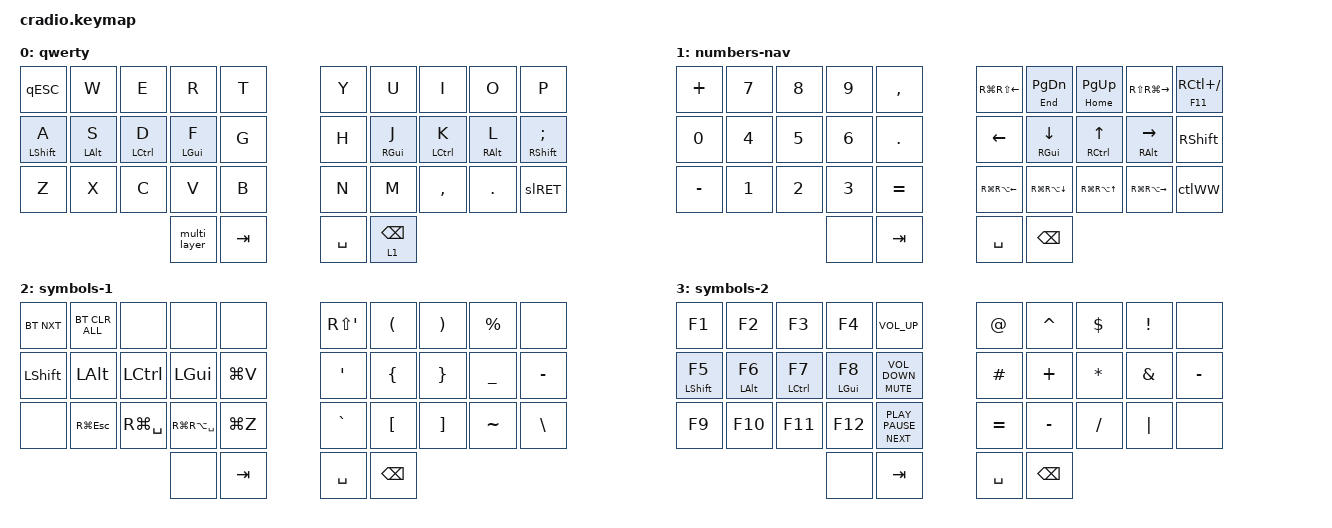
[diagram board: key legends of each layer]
// Copyright (c) 2022 The ZMK Contributors
// SPDX-License-Identifier: MIT

#include <behaviors.dtsi>
#include <dt-bindings/zmk/bt.h>
#include <dt-bindings/zmk/keys.h>

// Home row mods macro
//#define HRML(k1,k2,k3,k4) &ht LSHFT k1  &ht LALT k2  &ht LCTRL k3  &ht LGUI k4
//#define HRMR(k1,k2,k3,k4) &ht RGUI k1  &ht RCTRL k2  &ht RALT k3  &ht RSHFT k4

/ {
    behaviors {
        multi_layer: multi_layer {
            compatible = "zmk,behavior-tap-dance";
            label = "MULTI_LAYER";
            #binding-cells = <0>;
            bindings = <&osl 2 2>, <&osl 3 3>;
        };

        osl: osl {
            compatible = "zmk,behavior-hold-tap";
            label = "OSL";
            bindings = <&mo>, <&sl>;

            #binding-cells = <2>;
            tapping-term-ms = <200>;
            quick-tap-ms = <150>;
            require-prior-idle-ms = <100>;
        };

        qESC: qESC {
            compatible = "zmk,behavior-tap-dance";
            label = "QESC";
            #binding-cells = <0>;
            bindings = <&kp Q>, <&kp ESC>;
        };

        slRET: slRET {
            compatible = "zmk,behavior-tap-dance";
            label = "SLRET";
            #binding-cells = <0>;
            bindings = <&kp SLASH>, <&kp RET>;
        };

        l1mod: l1mod {
            compatible = "zmk,behavior-hold-tap";
            label = "L1MOD";
            bindings = <&mo>, <&kp>;

            #binding-cells = <2>;
            tapping-term-ms = <200>;
            quick-tap-ms = <150>;
        };
    };

    conditional_layers {
        compatible = "zmk,conditional-layers";

        tri_layer {
            if-layers = <1 2>;
            then-layer = <3>;
        };
    };

    macros {
        ctlWW: ctlWW {
            compatible = "zmk,behavior-macro";
            #binding-cells = <0>;
            bindings = <&kp RC(W) &kp RC(W)>;
            label = "CTLWW";
        };
    };

    keymap {
        compatible = "zmk,keymap";

        qwerty {
            bindings = <
&qESC        &kp W       &kp E        &kp R         &kp T      &kp Y      &kp U               &kp I        &kp O       &kp P
&mt LSHFT A  &mt LALT S  &mt LCTRL D  &mt LGUI F    &kp G      &kp H      &mt RGUI J          &mt LCTRL K  &mt RALT L  &mt RSHFT SEMI
&kp Z        &kp X       &kp C        &kp V         &kp B      &kp N      &kp M               &kp COMMA    &kp DOT     &slRET
                                      &multi_layer  &kp TAB    &kp SPACE  &l1mod 1 BACKSPACE
            >;
        };

        numbers-nav {
            bindings = <
&kp PLUS   &kp N7  &kp N8  &kp N9  &kp COMMA     &kp RG(RS(LEFT))  &mt END PAGE_DOWN  &mt HOME PAGE_UP    &kp RS(RG(RIGHT))  &mt F11 RC(SLASH)
&kp N0     &kp N4  &kp N5  &kp N6  &kp PERIOD    &kp LEFT          &mt RGUI DOWN      &mt RCTRL UP_ARROW  &mt RALT RIGHT     &kp RSHFT
&kp MINUS  &kp N1  &kp N2  &kp N3  &kp EQUAL     &kp RG(RA(LEFT))  &kp RG(RA(DOWN))   &kp RG(RA(UP))      &kp RG(RA(RIGHT))  &ctlWW
                           &none   &kp TAB       &kp SPACE         &kp BACKSPACE
            >;
        };

        symbols-1 {
            bindings = <
&bt BT_NXT  &bt BT_CLR_ALL  &none          &none              &none        &kp RS(SQT)  &kp LPAR          &kp RPAR           &kp PERCENT     &none
&kp LSHFT   &kp LALT        &kp LCTRL      &kp LGUI           &kp LG(V)    &kp SQT      &kp LEFT_BRACE    &kp RIGHT_BRACE    &kp UNDERSCORE  &kp MINUS
&none       &kp RG(ESC)     &kp RG(SPACE)  &kp RG(RA(SPACE))  &kp LG(Z)    &kp GRAVE    &kp LEFT_BRACKET  &kp RIGHT_BRACKET  &kp TILDE       &kp BACKSLASH
                                           &none              &kp TAB      &kp SPACE    &kp BACKSPACE
            >;
        };

        symbols-2 {
            bindings = <
&kp F1        &kp F2       &kp F3        &kp F4       &kp C_VOLUME_UP             &kp AT_SIGN  &kp CARET      &kp DOLLAR    &kp EXCLAMATION  &none
&mt LSHFT F5  &mt LALT F6  &mt LCTRL F7  &mt LGUI F8  &mt K_MUTE K_VOLUME_DOWN    &kp HASH     &kp PLUS       &kp ASTERISK  &kp AMPERSAND    &kp MINUS
&kp F9        &kp F10      &kp F11       &kp F12      &mt K_NEXT K_PLAY_PAUSE     &kp EQUAL    &kp MINUS      &kp SLASH     &kp PIPE         &none
                                         &none        &kp TAB                     &kp SPACE    &kp BACKSPACE
            >;
        };
    };
};
